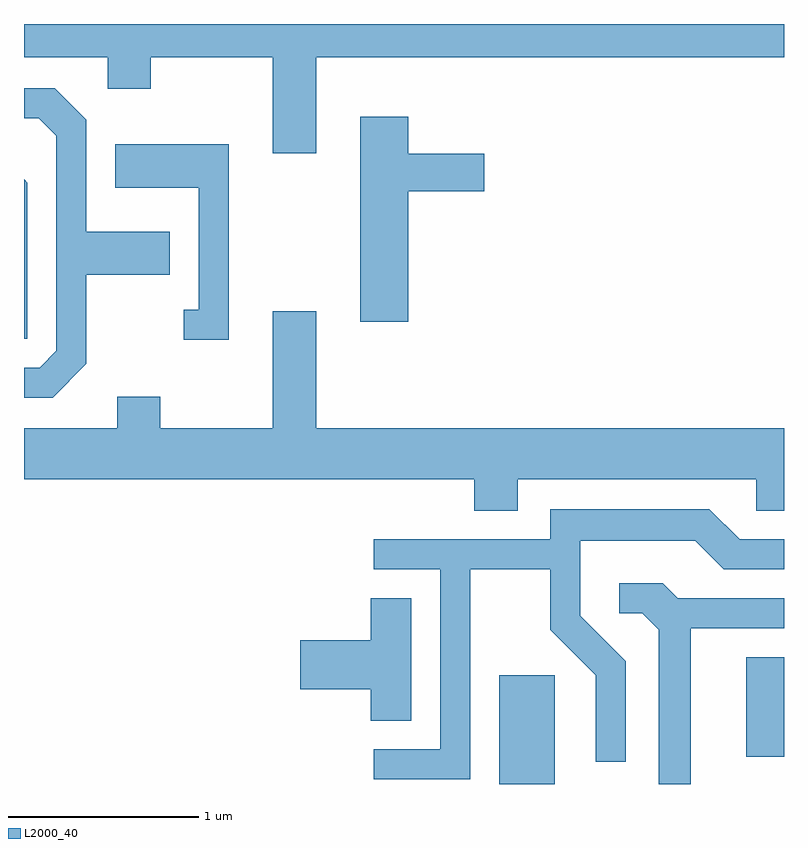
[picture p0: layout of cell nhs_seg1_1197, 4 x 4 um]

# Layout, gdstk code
import gdstk
lib = gdstk.Library(unit=1e-6, precision=1e-09)
def R(c, l, rs):  # rectangles x0, y0, x1, y1
    for r in rs: c.add(gdstk.rectangle(r[:2], r[2:], *l))
def P(c, l, *ps):  # polygons
    for p in ps: c.add(gdstk.Polygon(p, *l))
L2000_40 = (2000, 40)

nhs_seg1_1197 = lib.new_cell('nhs_seg1_1197')
R(nhs_seg1_1197, L2000_40, [(224.111,935.712,224.404,936.284), (225.411,935.856,225.611,936.379)])
P(nhs_seg1_1197, L2000_40, [(223.149,939.536),(225.611,939.536),(225.611,939.712),(221.611,939.712),(221.611,939.536),(222.051,939.536),(222.051,939.371),(222.279,939.371),(222.279,939.536),(222.921,939.536),(222.921,939.031),(223.149,939.031)],
  [(221.939,937.924),(221.939,938.391),(222.379,938.391),(222.379,938.619),(221.939,938.619),(221.939,939.207),(221.772,939.374),(221.611,939.374),(221.611,939.216),(221.689,939.216),(221.781,939.124),(221.781,937.992),(221.694,937.904),(221.611,937.904),(221.611,937.746),(221.762,937.746)],
  [(223.634,938.831),(224.034,938.831),(224.034,939.029),(223.634,939.029),(223.634,939.224),(223.381,939.224),(223.381,938.146),(223.634,938.146)],
  [(222.689,939.079),(222.091,939.079),(222.091,938.851),(222.531,938.851),(222.531,938.209),(222.453,938.209),(222.453,938.051),(222.689,938.051)],
  [(221.629,938.877),(221.611,938.895),(221.611,938.056),(221.629,938.056)],
  [(224.209,937.316),(225.466,937.316),(225.466,937.151),(225.611,937.151),(225.611,937.584),(223.149,937.584),(223.149,938.199),(222.921,938.199),(222.921,937.584),(222.329,937.584),(222.329,937.749),(222.101,937.749),(222.101,937.584),(221.611,937.584),(221.611,937.316),(223.981,937.316),(223.981,937.151),(224.209,937.151)],
  [(223.959,936.841),(224.381,936.841),(224.381,936.524),(224.621,936.284),(224.621,935.828),(224.779,935.828),(224.779,936.357),(224.539,936.597),(224.539,936.991),(225.144,936.991),(225.294,936.841),(225.611,936.841),(225.611,936.999),(225.377,936.999),(225.217,937.159),(224.381,937.159),(224.381,936.999),(223.453,936.999),(223.453,936.841),(223.801,936.841),(223.801,935.894),(223.453,935.894),(223.453,935.736),(223.959,935.736)],
  [(225.119,936.531),(225.611,936.531),(225.611,936.689),(225.052,936.689),(224.972,936.769),(224.743,936.769),(224.743,936.611),(224.864,936.611),(224.951,936.524),(224.951,935.712),(225.119,935.712)],
  [(223.649,936.689),(223.436,936.689),(223.436,936.469),(223.066,936.469),(223.066,936.211),(223.436,936.211),(223.436,936.046),(223.649,936.046)])

lib.write_gds('nhs_seg1_1197.gds')
